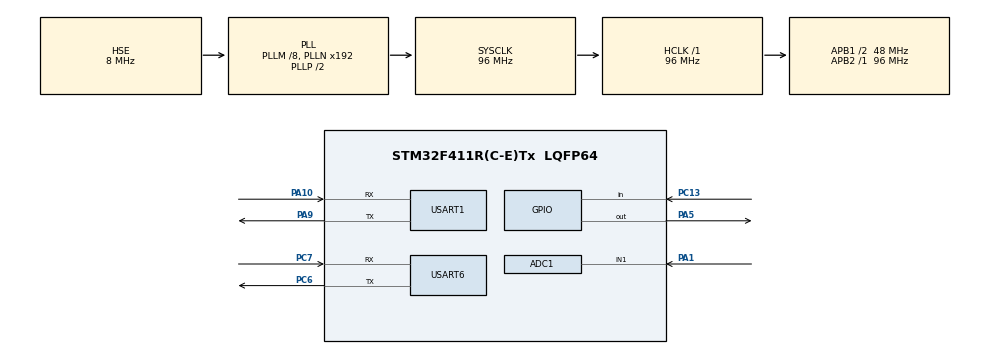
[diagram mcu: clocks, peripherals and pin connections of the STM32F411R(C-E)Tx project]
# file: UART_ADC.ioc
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ADC1.Channel-9\#ChannelRegularConversion=ADC_CHANNEL_1
ADC1.ClockPrescaler=ADC_CLOCKPRESCALER_PCLK_DIV4
ADC1.ContinuousConvMode=ENABLE
ADC1.DMAContinuousRequests=ENABLE
ADC1.DataAlign=ADC_DATAALIGN_RIGHT
ADC1.DiscontinuousConvMode=DISABLE
ADC1.EOCSelection=EOC_SINGLE_CONV
ADC1.EnableAnalogWatchDog=false
ADC1.ExternalTrigConvEdge=ADC_EXTERNALTRIGCONVEDGE_NONE
ADC1.InjNumberOfConversion=0
ADC1.NbrOfConversion=1
ADC1.NbrOfConversionFlag=1
ADC1.Rank-9\#ChannelRegularConversion=1
ADC1.Resolution=ADC_RESOLUTION12b
ADC1.SamplingTime-9\#ChannelRegularConversion=ADC_SAMPLETIME_56CYCLES
ADC1.ScanConvMode=DISABLE
ADC1.master=1
Dma.ADC1.0.Channel=DMA_CHANNEL_0
Dma.ADC1.0.Direction=DMA_PERIPH_TO_MEMORY
Dma.ADC1.0.FIFOMode=DMA_FIFOMODE_ENABLE
Dma.ADC1.0.FIFOThreshold=DMA_FIFO_THRESHOLD_HALFFULL
Dma.ADC1.0.Instance=DMA2_Stream0
Dma.ADC1.0.MemBurst=DMA_MBURST_SINGLE
Dma.ADC1.0.MemDataAlignment=DMA_MDATAALIGN_HALFWORD
Dma.ADC1.0.MemInc=DMA_MINC_ENABLE
Dma.ADC1.0.Mode=DMA_CIRCULAR
Dma.ADC1.0.PeriphBurst=DMA_PBURST_SINGLE
Dma.ADC1.0.PeriphDataAlignment=DMA_PDATAALIGN_HALFWORD
Dma.ADC1.0.PeriphInc=DMA_PINC_DISABLE
Dma.ADC1.0.Priority=DMA_PRIORITY_LOW
Dma.Request0=ADC1
Mcu.Family=STM32F4
Mcu.Name=STM32F411R(C-E)Tx
Mcu.Package=LQFP64
NVIC.DMA2_Stream0_IRQn=true\:0\:0\:false
NVIC.PriorityGroup=NVIC_PRIORITYGROUP_4
NVIC.USART1_IRQn=true\:0\:0\:false
PA1.Signal=ADCx_IN1
PA10.Mode=Asynchronous
PA10.Signal=USART1_RX
PA5.GPIO_Speed=GPIO_SPEED_HIGH
PA5.Signal=GPIO_Output
PA9.Mode=Asynchronous
PA9.Signal=USART1_TX
PC13-ANTI_TAMP.Signal=GPIO_Input
PC6.Mode=Asynchronous
PC6.Signal=USART6_TX
PC7.Mode=Asynchronous
PC7.Signal=USART6_RX
PH0\ -\ OSC_IN.Mode=HSE-External-Oscillator
PH0\ -\ OSC_IN.Signal=RCC_OSC_IN
PH1\ -\ OSC_OUT.Mode=HSE-External-Oscillator
PH1\ -\ OSC_OUT.Signal=RCC_OSC_OUT
ProjectManager.HeapSize=0x400
ProjectManager.StackSize=0x200
ProjectManager.TargetToolchain=MDK-ARM V5
RCC.48MHZClocksFreq_Value=48000000
RCC.AHBFreq_Value=96000000
RCC.APB1CLKDivider=RCC_HCLK_DIV2
RCC.APB1Freq_Value=48000000
RCC.APB1TimFreq_Value=96000000
RCC.APB2Freq_Value=96000000
RCC.APB2TimFreq_Value=96000000
RCC.CortexFreq_Value=96000000
RCC.HCLKFreq_Value=96000000
RCC.HSE_VALUE=8000000
RCC.HSI_VALUE=16000000
RCC.LSE_VALUE=32768
RCC.PLLM=8
RCC.PLLSourceVirtual=RCC_PLLSOURCE_HSE
RCC.SYSCLKFreq_VALUE=96000000
RCC.SYSCLKSource=RCC_SYSCLKSOURCE_PLLCLK
RCC.VCOOutputFreq_Value=192000000
SH.ADCx_IN1.0=ADC1_IN1,IN1
board=UART_ADC

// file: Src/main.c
/**
  ******************************************************************************
  * File Name          : main.c
  * Description        : Main program body
  ******************************************************************************
  *
  * COPYRIGHT(c) 2016 STMicroelectronics
  *
  * Redistribution and use in source and binary forms, with or without modification,
  * are permitted provided that the following conditions are met:
  *   1. Redistributions of source code must retain the above copyright notice,
  *      this list of conditions and the following disclaimer.
  *   2. Redistributions in binary form must reproduce the above copyright notice,
  *      this list of conditions and the following disclaimer in the documentation
  *      and/or other materials provided with the distribution.
  *   3. Neither the name of STMicroelectronics nor the names of its contributors
  *      may be used to endorse or promote products derived from this software
  *      without specific prior written permission.
  *
  * THIS SOFTWARE IS PROVIDED BY THE COPYRIGHT HOLDERS AND CONTRIBUTORS "AS IS"
  * AND ANY EXPRESS OR IMPLIED WARRANTIES, INCLUDING, BUT NOT LIMITED TO, THE
  * IMPLIED WARRANTIES OF MERCHANTABILITY AND FITNESS FOR A PARTICULAR PURPOSE ARE
  * DISCLAIMED. IN NO EVENT SHALL THE COPYRIGHT HOLDER OR CONTRIBUTORS BE LIABLE
  * FOR ANY DIRECT, INDIRECT, INCIDENTAL, SPECIAL, EXEMPLARY, OR CONSEQUENTIAL
  * DAMAGES (INCLUDING, BUT NOT LIMITED TO, PROCUREMENT OF SUBSTITUTE GOODS OR
  * SERVICES; LOSS OF USE, DATA, OR PROFITS; OR BUSINESS INTERRUPTION) HOWEVER
  * CAUSED AND ON ANY THEORY OF LIABILITY, WHETHER IN CONTRACT, STRICT LIABILITY,
  * OR TORT (INCLUDING NEGLIGENCE OR OTHERWISE) ARISING IN ANY WAY OUT OF THE USE
  * OF THIS SOFTWARE, EVEN IF ADVISED OF THE POSSIBILITY OF SUCH DAMAGE.
  *
  ******************************************************************************
  */
#include "stm32f4xx_hal.h"

/* USER CODE BEGIN Includes */
#include "stdio.h"
/* USER CODE END Includes */

ADC_HandleTypeDef hadc1;
DMA_HandleTypeDef hdma_adc1;

UART_HandleTypeDef huart1;
UART_HandleTypeDef huart6;

/* USER CODE BEGIN PV */
/* Private variables ---------------------------------------------------------*/

char  Rx_Buffer[100], Rx_data[2], Rx_indx, buffer[100];
uint8_t length,  Transfer_cplt = 0;
uint32_t ADC_values = 0, ADC1_values = 0;
uint32_t tam = 0, i = 0;
/* USER CODE END PV */

void SystemClock_Config(void);
static void MX_GPIO_Init(void);
static void MX_DMA_Init(void);
static void MX_ADC1_Init(void);
static void MX_USART1_UART_Init(void);
static void MX_USART6_UART_Init(void);

/* USER CODE BEGIN PFP */
/* Private function prototypes -----------------------------------------------*/
/* USER CODE END PFP */

/* USER CODE BEGIN 0 */
void HAL_UART_RxCpltCallback(UART_HandleTypeDef *huart);
void HAL_ADC_ConvCpltCallback(ADC_HandleTypeDef* hadc);

/* USER CODE END 0 */

int main(void)
{

  /* MCU Configuration----------------------------------------------------------*/

  /* Reset of all peripherals, Initializes the Flash interface and the Systick. */
  HAL_Init();

  /* Configure the system clock */
  SystemClock_Config();

  /* Initialize all configured peripherals */
  MX_GPIO_Init();
  MX_DMA_Init();
  MX_ADC1_Init();
  MX_USART1_UART_Init();
  MX_USART6_UART_Init();

  /* USER CODE BEGIN 2 */
	HAL_ADC_Start_DMA(&hadc1, (uint32_t*)&ADC_values, 1);
	HAL_ADC_Start(&hadc1);
	HAL_UART_Receive_IT(&huart1, (uint8_t*)Rx_data, 1);

  /* USER CODE END 2 */

  /* Infinite loop */
  while (1)
  {
				if (Transfer_cplt)
		{
			sprintf(buffer, "%s\r\n", Rx_Buffer);
			length = strlen(buffer);
			HAL_UART_Transmit(&huart6, (uint8_t *)buffer, length, 1000);
			Transfer_cplt = 0;
			HAL_Delay(100);
		}

  }

}

/** System Clock Configuration
*/
void SystemClock_Config(void)
{

  RCC_OscInitTypeDef RCC_OscInitStruct;
  RCC_ClkInitTypeDef RCC_ClkInitStruct;

  __PWR_CLK_ENABLE();

  __HAL_PWR_VOLTAGESCALING_CONFIG(PWR_REGULATOR_VOLTAGE_SCALE1);

  RCC_OscInitStruct.OscillatorType = RCC_OSCILLATORTYPE_HSE;
  RCC_OscInitStruct.HSEState = RCC_HSE_ON;
  RCC_OscInitStruct.PLL.PLLState = RCC_PLL_ON;
  RCC_OscInitStruct.PLL.PLLSource = RCC_PLLSOURCE_HSE;
  RCC_OscInitStruct.PLL.PLLM = 8;
  RCC_OscInitStruct.PLL.PLLN = 192;
  RCC_OscInitStruct.PLL.PLLP = RCC_PLLP_DIV2;
  RCC_OscInitStruct.PLL.PLLQ = 4;
  HAL_RCC_OscConfig(&RCC_OscInitStruct);

  RCC_ClkInitStruct.ClockType = RCC_CLOCKTYPE_HCLK|RCC_CLOCKTYPE_SYSCLK
                              |RCC_CLOCKTYPE_PCLK1|RCC_CLOCKTYPE_PCLK2;
  RCC_ClkInitStruct.SYSCLKSource = RCC_SYSCLKSOURCE_PLLCLK;
  RCC_ClkInitStruct.AHBCLKDivider = RCC_SYSCLK_DIV1;
  RCC_ClkInitStruct.APB1CLKDivider = RCC_HCLK_DIV2;
  RCC_ClkInitStruct.APB2CLKDivider = RCC_HCLK_DIV1;
  HAL_RCC_ClockConfig(&RCC_ClkInitStruct, FLASH_LATENCY_3);

  HAL_SYSTICK_Config(HAL_RCC_GetHCLKFreq()/1000);

  HAL_SYSTICK_CLKSourceConfig(SYSTICK_CLKSOURCE_HCLK);

  /* SysTick_IRQn interrupt configuration */
  HAL_NVIC_SetPriority(SysTick_IRQn, 0, 0);
}

/* ADC1 init function */
void MX_ADC1_Init(void)
{

  ADC_ChannelConfTypeDef sConfig;

    /**Configure the global features of the ADC (Clock, Resolution, Data Alignment and number of conversion)
    */
  hadc1.Instance = ADC1;
  hadc1.Init.ClockPrescaler = ADC_CLOCKPRESCALER_PCLK_DIV4;
  hadc1.Init.Resolution = ADC_RESOLUTION12b;
  hadc1.Init.ScanConvMode = DISABLE;
  hadc1.Init.ContinuousConvMode = ENABLE;
  hadc1.Init.DiscontinuousConvMode = DISABLE;
  hadc1.Init.ExternalTrigConvEdge = ADC_EXTERNALTRIGCONVEDGE_NONE;
  hadc1.Init.DataAlign = ADC_DATAALIGN_RIGHT;
  hadc1.Init.NbrOfConversion = 1;
  hadc1.Init.DMAContinuousRequests = ENABLE;
  hadc1.Init.EOCSelection = EOC_SINGLE_CONV;
  HAL_ADC_Init(&hadc1);

    /**Configure for the selected ADC regular channel its corresponding rank in the sequencer and its sample time.
    */
  sConfig.Channel = ADC_CHANNEL_1;
  sConfig.Rank = 1;
  sConfig.SamplingTime = ADC_SAMPLETIME_56CYCLES;
  HAL_ADC_ConfigChannel(&hadc1, &sConfig);

}

/* USART1 init function */
void MX_USART1_UART_Init(void)
{

  huart1.Instance = USART1;
  huart1.Init.BaudRate = 115200;
  huart1.Init.WordLength = UART_WORDLENGTH_8B;
  huart1.Init.StopBits = UART_STOPBITS_1;
  huart1.Init.Parity = UART_PARITY_NONE;
  huart1.Init.Mode = UART_MODE_TX_RX;
  huart1.Init.HwFlowCtl = UART_HWCONTROL_NONE;
  huart1.Init.OverSampling = UART_OVERSAMPLING_16;
  HAL_UART_Init(&huart1);

}

/* USART6 init function */
void MX_USART6_UART_Init(void)
{

  huart6.Instance = USART6;
  huart6.Init.BaudRate = 115200;
  huart6.Init.WordLength = UART_WORDLENGTH_8B;
  huart6.Init.StopBits = UART_STOPBITS_1;
  huart6.Init.Parity = UART_PARITY_NONE;
  huart6.Init.Mode = UART_MODE_TX_RX;
  huart6.Init.HwFlowCtl = UART_HWCONTROL_NONE;
  huart6.Init.OverSampling = UART_OVERSAMPLING_16;
  HAL_UART_Init(&huart6);

}

void MX_DMA_Init(void)
{
  /* DMA controller clock enable */
  __DMA2_CLK_ENABLE();

  /* DMA interrupt init */
  HAL_NVIC_SetPriority(DMA2_Stream0_IRQn, 0, 0);
  HAL_NVIC_EnableIRQ(DMA2_Stream0_IRQn);

}

/** Configure pins as
        * Analog
        * Input
        * Output
        * EVENT_OUT
        * EXTI
*/
void MX_GPIO_Init(void)
{

  GPIO_InitTypeDef GPIO_InitStruct;

  /* GPIO Ports Clock Enable */
  __GPIOC_CLK_ENABLE();
  __GPIOH_CLK_ENABLE();
  __GPIOA_CLK_ENABLE();

  /*Configure GPIO pin : PC13 */
  GPIO_InitStruct.Pin = GPIO_PIN_13;
  GPIO_InitStruct.Mode = GPIO_MODE_INPUT;
  GPIO_InitStruct.Pull = GPIO_NOPULL;
  HAL_GPIO_Init(GPIOC, &GPIO_InitStruct);

  /*Configure GPIO pin : PA5 */
  GPIO_InitStruct.Pin = GPIO_PIN_5;
  GPIO_InitStruct.Mode = GPIO_MODE_OUTPUT_PP;
  GPIO_InitStruct.Pull = GPIO_NOPULL;
  GPIO_InitStruct.Speed = GPIO_SPEED_HIGH;
  HAL_GPIO_Init(GPIOA, &GPIO_InitStruct);

  /*Configure GPIO pin Output Level */
  HAL_GPIO_WritePin(GPIOA, GPIO_PIN_5, GPIO_PIN_RESET);

}

/* USER CODE BEGIN 4 */

void HAL_UART_RxCpltCallback(UART_HandleTypeDef *huart)
	{

		uint8_t i;
		if (huart->Instance == USART1)	//current UART
		{
			if (Rx_indx==0) {for (i = 0;i < 100;i++) Rx_Buffer[i]=0;}	//clear Rx_Buffer before receiving new data

			if  (Rx_data[0] != 13)	//if received data different from ascii 13 (enter)
					Rx_Buffer[Rx_indx++] = Rx_data[0];	//add data to Rx_Buffer
			else 		//if received data = 13
			{
				Rx_indx = 0;
				Transfer_cplt = 1;//transfer complete, data is ready to read
			}
		HAL_UART_Receive_IT(&huart1, (uint8_t*)Rx_data, 1);
		}
}

/*
void HAL_ADC_ConvCpltCallback(ADC_HandleTypeDef* hadc)
{
	ADC_values = HAL_ADC_GetValue(&hadc1);
	if (( ADC_values - 2 <= tam ) && ( tam <= ADC_values + 2))
		{}
			else
		{
		tam = ADC_values;
		sprintf(buffer,"ADC data: %d\r\n", ADC_values);
		length = (unsigned)strlen(buffer);
		HAL_UART_Transmit(&huart1, (uint8_t *)&buffer, length, 1000);
		}
}
*/
/* USER CODE END 4 */

/************************ (C) COPYRIGHT STMicroelectronics *****END OF FILE****/
